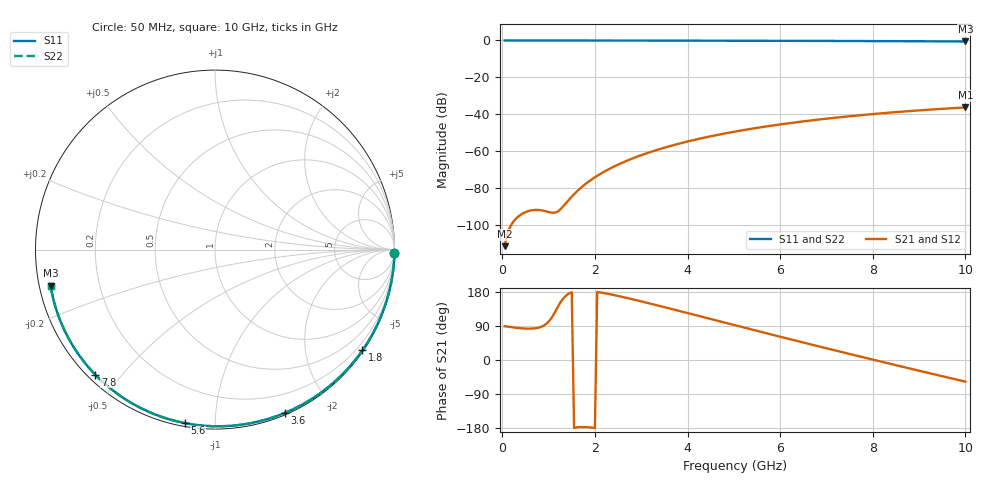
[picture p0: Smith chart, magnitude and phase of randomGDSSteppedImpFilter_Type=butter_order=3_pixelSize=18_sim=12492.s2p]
! freq	dB(S11)	phase(S11)	dB(S12)	phase(S12)
!  dB(S21)	phase(S21)	dB(S22)	phase(S22)
!S-par simulation data
#  GHz  S  DB  R 50
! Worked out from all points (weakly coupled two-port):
!   200 points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, 50 MHz to 10 GHz, reference 50 ohm
!   highest |S21| = -36.30 dB at 10 GHz (marker M1); lowest = -111.5 dB at 50 MHz (marker M2)
!   lowest |S11| = -0.6 dB at 10 GHz (marker M3), VSWR 31.20, Z = 1.62 - j5.42 ohm
!   |S11| at or under -10 dB: nowhere
!   |S22| runs from -0.6 to 0.0 dB; largest |S21 - S12| = 0
!   S11 on the Smith chart (normalised r, x): 50 MHz: open; 1.8 GHz: 0.03, -3.24; 3.6 GHz: 0.02, -1.52; 5.6 GHz: 0.02, -0.84; 7.8 GHz: 0.02, -0.43; 10 GHz: 0.03, -0.11
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0.05  -0.00 -1.0  -111.49 89.1  -111.49 89.1  -0.00 -1.0
0.45  -0.01 -8.7  -93.65 83.3  -93.65 83.3  -0.01 -8.7
0.85  -0.02 -16.4  -92.07 88.2  -92.07 88.2  -0.02 -16.4
1.65  -0.04 -31.5  -80.90 -177.3  -80.90 -177.3  -0.04 -31.5
1.7  -0.04 -32.5  -79.78 -177.0  -79.78 -177.0  -0.04 -32.5
1.75  -0.04 -33.4  -78.73 -176.9  -78.73 -176.9  -0.04 -33.4
1.8  -0.04 -34.3  -77.72 -177.1  -77.72 -177.1  -0.04 -34.3
2.1  -0.05 -39.9  -72.57 178.7  -72.57 178.7  -0.05 -39.9
2.3  -0.06 -43.6  -69.75 174.2  -69.75 174.2  -0.06 -43.6
2.5  -0.06 -47.2  -67.28 169.0  -67.28 169.0  -0.06 -47.2
2.9  -0.07 -54.4  -63.09 157.7  -63.09 157.7  -0.07 -54.4
3.4  -0.08 -63.3  -58.86 142.6  -58.86 142.6  -0.08 -63.3
3.6  -0.09 -66.7  -57.39 136.4  -57.39 136.4  -0.09 -66.7
4.3  -0.11 -78.7  -53.01 114.5  -53.01 114.5  -0.11 -78.7
5.05  -0.14 -91.1  -49.27 91.0  -49.27 91.0  -0.14 -91.1
5.6  -0.17 -99.9  -46.98 73.8  -46.98 73.8  -0.17 -99.9
6.15  -0.19 -108.5  -44.99 56.8  -44.99 56.8  -0.19 -108.5
6.7  -0.23 -117.0  -43.25 40.0  -43.25 40.0  -0.23 -117.0
7.8  -0.31 -133.8  -40.35 7.0  -40.35 7.0  -0.31 -133.8
8.35  -0.36 -142.1  -39.14 -9.3  -39.14 -9.3  -0.36 -142.1
9.2  -0.46 -155.1  -37.54 -34.1  -37.54 -34.1  -0.46 -155.1
10  -0.56 -167.6  -36.30 -57.2  -36.30 -57.2  -0.56 -167.6
